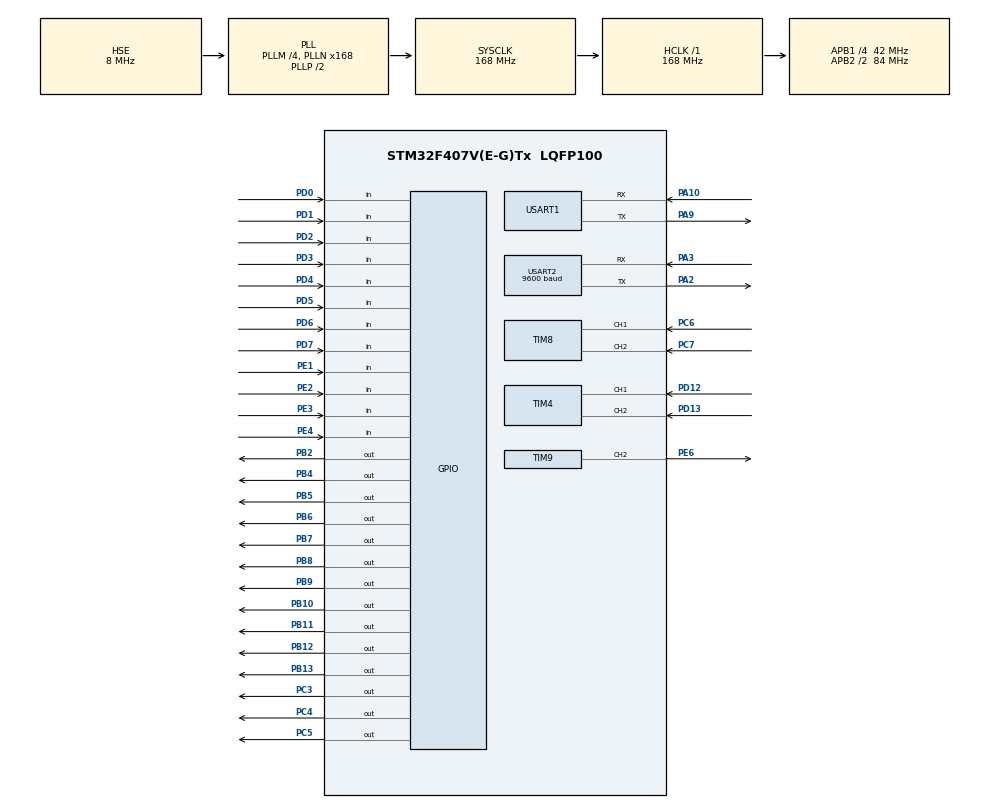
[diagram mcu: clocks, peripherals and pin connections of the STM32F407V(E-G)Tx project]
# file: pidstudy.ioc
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Mcu.Family=STM32F4
Mcu.Name=STM32F407V(E-G)Tx
Mcu.Package=LQFP100
NVIC.PriorityGroup=NVIC_PRIORITYGROUP_4
NVIC.TIM1_UP_TIM10_IRQn=true\:0\:0\:false\:false\:true\:true\:true\:true
NVIC.TIM2_IRQn=true\:0\:0\:false\:false\:true\:true\:true\:true
NVIC.USART1_IRQn=true\:0\:0\:false\:false\:true\:true\:true\:true
NVIC.USART2_IRQn=true\:0\:0\:false\:false\:true\:true\:true\:true
PA1.Signal=S_TIM2_CH2
PA10.Mode=Asynchronous
PA10.Signal=USART1_RX
PA13.Mode=Serial_Wire
PA13.Signal=SYS_JTMS-SWDIO
PA14.Mode=Serial_Wire
PA14.Signal=SYS_JTCK-SWCLK
PA2.Mode=Asynchronous
PA2.Signal=USART2_TX
PA3.Mode=Asynchronous
PA3.Signal=USART2_RX
PA9.Mode=Asynchronous
PA9.Signal=USART1_TX
PB10.GPIO_ModeDefaultOutputPP=GPIO_MODE_OUTPUT_OD
PB10.GPIO_PuPd=GPIO_NOPULL
PB10.GPIO_Speed=GPIO_SPEED_FREQ_MEDIUM
PB10.Signal=GPIO_Output
PB11.GPIO_ModeDefaultOutputPP=GPIO_MODE_OUTPUT_OD
PB11.GPIO_PuPd=GPIO_NOPULL
PB11.GPIO_Speed=GPIO_SPEED_FREQ_MEDIUM
PB11.Signal=GPIO_Output
PB12.GPIO_Speed=GPIO_SPEED_FREQ_MEDIUM
PB12.Signal=GPIO_Output
PB13.GPIO_Speed=GPIO_SPEED_FREQ_MEDIUM
PB13.Signal=GPIO_Output
PB2.GPIO_PuPd=GPIO_PULLUP
PB2.Signal=GPIO_Output
PB4.GPIO_ModeDefaultOutputPP=GPIO_MODE_OUTPUT_PP
PB4.GPIO_Speed=GPIO_SPEED_FREQ_MEDIUM
PB4.Signal=GPIO_Output
PB5.GPIO_ModeDefaultOutputPP=GPIO_MODE_OUTPUT_PP
PB5.GPIO_Speed=GPIO_SPEED_FREQ_MEDIUM
PB5.Signal=GPIO_Output
PB6.GPIO_ModeDefaultOutputPP=GPIO_MODE_OUTPUT_PP
PB6.GPIO_Speed=GPIO_SPEED_FREQ_MEDIUM
PB6.Signal=GPIO_Output
PB7.GPIO_ModeDefaultOutputPP=GPIO_MODE_OUTPUT_PP
PB7.GPIO_Speed=GPIO_SPEED_FREQ_MEDIUM
PB7.Signal=GPIO_Output
PB8.GPIO_ModeDefaultOutputPP=GPIO_MODE_OUTPUT_OD
PB8.GPIO_PuPd=GPIO_NOPULL
PB8.GPIO_Speed=GPIO_SPEED_FREQ_MEDIUM
PB8.Signal=GPIO_Output
PB9.GPIO_ModeDefaultOutputPP=GPIO_MODE_OUTPUT_OD
PB9.GPIO_PuPd=GPIO_NOPULL
PB9.GPIO_Speed=GPIO_SPEED_FREQ_MEDIUM
PB9.Signal=GPIO_Output
PC3.GPIO_PuPd=GPIO_PULLUP
PC3.PinState=GPIO_PIN_SET
PC3.Signal=GPIO_Output
PC4.GPIO_PuPd=GPIO_PULLUP
PC4.PinState=GPIO_PIN_SET
PC4.Signal=GPIO_Output
PC5.GPIO_PuPd=GPIO_PULLUP
PC5.PinState=GPIO_PIN_SET
PC5.Signal=GPIO_Output
PC6.Signal=S_TIM8_CH1
PC7.Signal=S_TIM8_CH2
PD0.GPIO_Mode=GPIO_MODE_INPUT
PD0.Signal=GPIO_Input
PD1.GPIO_Mode=GPIO_MODE_INPUT
PD1.Signal=GPIO_Input
PD12.Signal=S_TIM4_CH1
PD13.Signal=S_TIM4_CH2
PD2.GPIO_Mode=GPIO_MODE_INPUT
PD2.Signal=GPIO_Input
PD3.GPIO_Mode=GPIO_MODE_INPUT
PD3.Signal=GPIO_Input
PD4.GPIO_Mode=GPIO_MODE_INPUT
PD4.Signal=GPIO_Input
PD5.GPIO_Mode=GPIO_MODE_INPUT
PD5.Signal=GPIO_Input
PD6.GPIO_Mode=GPIO_MODE_INPUT
PD6.Signal=GPIO_Input
PD7.GPIO_Mode=GPIO_MODE_INPUT
PD7.Signal=GPIO_Input
PE1.GPIO_Mode=GPIO_MODE_INPUT
PE1.GPIO_PuPd=GPIO_PULLUP
PE1.Signal=GPIO_Input
PE2.GPIO_Mode=GPIO_MODE_INPUT
PE2.GPIO_PuPd=GPIO_PULLUP
PE2.Signal=GPIO_Input
PE3.GPIO_Mode=GPIO_MODE_INPUT
PE3.GPIO_PuPd=GPIO_PULLUP
PE3.Signal=GPIO_Input
PE4.GPIO_Mode=GPIO_MODE_INPUT
PE4.GPIO_PuPd=GPIO_PULLUP
PE4.Signal=GPIO_Input
PE6.Signal=S_TIM9_CH2
PH0-OSC_IN.Mode=HSE-External-Oscillator
PH0-OSC_IN.Signal=RCC_OSC_IN
PH1-OSC_OUT.Mode=HSE-External-Oscillator
PH1-OSC_OUT.Signal=RCC_OSC_OUT
ProjectManager.HeapSize=0x200
ProjectManager.StackSize=0x400
ProjectManager.TargetToolchain=MDK-ARM V5.32
RCC.48MHZClocksFreq_Value=84000000
RCC.AHBFreq_Value=168000000
RCC.APB1CLKDivider=RCC_HCLK_DIV4
RCC.APB1Freq_Value=42000000
RCC.APB1TimFreq_Value=84000000
RCC.APB2CLKDivider=RCC_HCLK_DIV2
RCC.APB2Freq_Value=84000000
RCC.APB2TimFreq_Value=168000000
RCC.CortexFreq_Value=168000000
RCC.HCLKFreq_Value=168000000
RCC.HSE_VALUE=8000000
RCC.HSI_VALUE=16000000
RCC.LSE_VALUE=32768
RCC.PLLM=4
RCC.PLLN=168
RCC.PLLSourceVirtual=RCC_PLLSOURCE_HSE
RCC.SYSCLKFreq_VALUE=168000000
RCC.SYSCLKSource=RCC_SYSCLKSOURCE_PLLCLK
RCC.VCOOutputFreq_Value=336000000
SH.S_TIM2_CH2.0=TIM2_CH2
SH.S_TIM4_CH1.0=TIM4_CH1,Encoder_Interface
SH.S_TIM4_CH2.0=TIM4_CH2,Encoder_Interface
SH.S_TIM8_CH1.0=TIM8_CH1,Encoder_Interface
SH.S_TIM8_CH2.0=TIM8_CH2,Encoder_Interface
SH.S_TIM9_CH2.0=TIM9_CH2,PWM Generation2 CH2
TIM1.Period=100-1
TIM1.Prescaler=1680-1
TIM2.Period=100-1
TIM2.Prescaler=1680-1
TIM4.EncoderMode=TIM_ENCODERMODE_TI12
TIM4.IC2Polarity=TIM_ICPOLARITY_RISING
TIM8.EncoderMode=TIM_ENCODERMODE_TI12
TIM9.Channel-PWM\ Generation2\ CH2=TIM_CHANNEL_2
TIM9.Period=100-1
TIM9.Prescaler=84-1
USART1.VirtualMode=VM_ASYNC
USART2.BaudRate=9600
USART2.VirtualMode=VM_ASYNC
VP_TIM13_VS_ClockSourceINT.Mode=Enable_Timer
VP_TIM1_VS_ClockSourceINT.Mode=Internal
VP_TIM2_VS_ClockSourceINT.Mode=Internal
VP_TIM9_VS_ClockSourceINT.Mode=Internal
board=custom

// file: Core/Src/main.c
/* USER CODE BEGIN Header */
/**
  ******************************************************************************
  * @file           : main.c
  * @brief          : Main program body
  ******************************************************************************
  * @attention
  *
  * Copyright (c) 2025 STMicroelectronics.
  * All rights reserved.
  *
  * This software is licensed under terms that can be found in the LICENSE file
  * in the root directory of this software component.
  * If no LICENSE file comes with this software, it is provided AS-IS.
  *
  ******************************************************************************
  */
/* USER CODE END Header */
#include "main.h"
#include "tim.h"
#include "usart.h"
#include "gpio.h"

/* USER CODE BEGIN Includes */
#include "headfile.h"
/* USER CODE END Includes */

/* USER CODE BEGIN PV */
extern uint32_t i;
extern int16_t locationA;
extern int16_t speedA;
extern int16_t locationB;
extern int16_t speedB;
extern uint8_t rec_data;
int8_t j;
extern uint8_t KeyNum;
extern float TargetA,OutA,ActualA;
extern float KpA,KiA,KdA;
extern float Error0A,Error1A,ErrorIntA;
extern float TargetB,OutB,ActualB;
extern float KpB,KiB,KdB;
extern float Error0B,Error1B,ErrorIntB;
extern uint8_t huidu[8];
/* USER CODE END PV */

void SystemClock_Config(void);

int main(void)
{

  /* MCU Configuration--------------------------------------------------------*/

  /* Reset of all peripherals, Initializes the Flash interface and the Systick. */
  HAL_Init();

  /* Configure the system clock */
  SystemClock_Config();

  /* Initialize all configured peripherals */
  MX_GPIO_Init();
  MX_TIM1_Init();
  MX_USART1_UART_Init();
  MX_TIM9_Init();
  MX_TIM4_Init();
  MX_TIM8_Init();
  MX_TIM2_Init();
  MX_TIM13_Init();
  MX_USART2_UART_Init();
  /* USER CODE BEGIN 2 */
  OLED_Init();
	HAL_TIM_PWM_Start(&htim9,TIM_CHANNEL_1);
	HAL_TIM_PWM_Start(&htim9,TIM_CHANNEL_2);
	TIM9->CCR1=0;
	TIM9->CCR2=0;
	HAL_TIM_Encoder_Start(&htim8,TIM_CHANNEL_ALL);
	HAL_TIM_Encoder_Start(&htim4,TIM_CHANNEL_ALL);
	HAL_TIM_Base_Start_IT(&htim1);
	HAL_TIM_Base_Start_IT(&htim2);
	//����
	HAL_UART_Receive_IT(&huart2, &rec_data, 1);
  HAL_TIM_Base_Start(&htim13); //psc:16800-1
//	Motor_SetPWM9_1(0);
//	Motor_SetPWM9_2(70);
  /* USER CODE END 2 */

  /* Infinite loop */
  /* USER CODE BEGIN WHILE */
  while (1)
  {
		Huidu_Get();
		ble_uart_data_rec();
		Key_Scan();
		OLED_Printf(0,0,OLED_6X8,"keynum=%d",KeyNum);
//		OLED_Printf(0,8,OLED_6X8,"huidu[1]=%d",huidu[1]);
		OLED_Update();

//		KeyNum=Key_GetNum();
//		if(KeyNum==1)
//		{
//			TargetA=TargetA+50;
//		}
//		if(KeyNum==2)
//		{
//			TargetA=TargetA-50;
//		}
//		if(KeyNum==3)
//		{
//			KpA=KpA+0.05;
//		}
//		if(KeyNum==4)
//		{
//			KiA=KiA+0.05;
//		}
//		OLED_Printf(0,0,OLED_6X8,"TargetA=%+04.0f",TargetA);
//		OLED_Printf(0,8,OLED_6X8,"ActualA=%+04.0f",ActualA);
//		OLED_Printf(0,16,OLED_6X8,"OutA=%+04.0f",OutA);
//		OLED_Printf(0,24,OLED_6X8,"KpA=%f",KpA);
//		OLED_Printf(0,32,OLED_6X8,"KiA=%f",KiA);
//		OLED_Printf(0,40,OLED_6X8,"KdA=%f",KdA);
//		OLED_Update();
//		Serial_Printf("%f,%f,%f,%f,%f,%f\r\n",TargetA,ActualA,OutA,KpA,KiA,KdA);

//		OLED_Update();
//		if(KeyNum==3)
//		{
//			j=j+2;
//		}
//		if(KeyNum==4)
//		{
//			j=j-2;
//		}
//		OLED_Printf(0,0,OLED_8X16,"j=%d",j);
//		OLED_Update();

//		OLED_Printf(0,0,OLED_8X16,"speed=%d",speed);
//		OLED_Printf(0,16,OLED_8X16,"location=%d",location);
//		OLED_Update();
//

    /* USER CODE END WHILE */

  }
}

void SystemClock_Config(void)
{
  RCC_OscInitTypeDef RCC_OscInitStruct = {0};
  RCC_ClkInitTypeDef RCC_ClkInitStruct = {0};

  /** Configure the main internal regulator output voltage
  */
  __HAL_RCC_PWR_CLK_ENABLE();
  __HAL_PWR_VOLTAGESCALING_CONFIG(PWR_REGULATOR_VOLTAGE_SCALE1);

  /** Initializes the RCC Oscillators according to the specified parameters
  * in the RCC_OscInitTypeDef structure.
  */
  RCC_OscInitStruct.OscillatorType = RCC_OSCILLATORTYPE_HSE;
  RCC_OscInitStruct.HSEState = RCC_HSE_ON;
  RCC_OscInitStruct.PLL.PLLState = RCC_PLL_ON;
  RCC_OscInitStruct.PLL.PLLSource = RCC_PLLSOURCE_HSE;
  RCC_OscInitStruct.PLL.PLLM = 4;
  RCC_OscInitStruct.PLL.PLLN = 168;
  RCC_OscInitStruct.PLL.PLLP = RCC_PLLP_DIV2;
  RCC_OscInitStruct.PLL.PLLQ = 4;
  if (HAL_RCC_OscConfig(&RCC_OscInitStruct) != HAL_OK)
  {
    Error_Handler();
  }

  /** Initializes the CPU, AHB and APB buses clocks
  */
  RCC_ClkInitStruct.ClockType = RCC_CLOCKTYPE_HCLK|RCC_CLOCKTYPE_SYSCLK
                              |RCC_CLOCKTYPE_PCLK1|RCC_CLOCKTYPE_PCLK2;
  RCC_ClkInitStruct.SYSCLKSource = RCC_SYSCLKSOURCE_PLLCLK;
  RCC_ClkInitStruct.AHBCLKDivider = RCC_SYSCLK_DIV1;
  RCC_ClkInitStruct.APB1CLKDivider = RCC_HCLK_DIV4;
  RCC_ClkInitStruct.APB2CLKDivider = RCC_HCLK_DIV2;

  if (HAL_RCC_ClockConfig(&RCC_ClkInitStruct, FLASH_LATENCY_5) != HAL_OK)
  {
    Error_Handler();
  }
}

void Error_Handler(void)
{
  __disable_irq();
  while (1)
  {
  }
}
